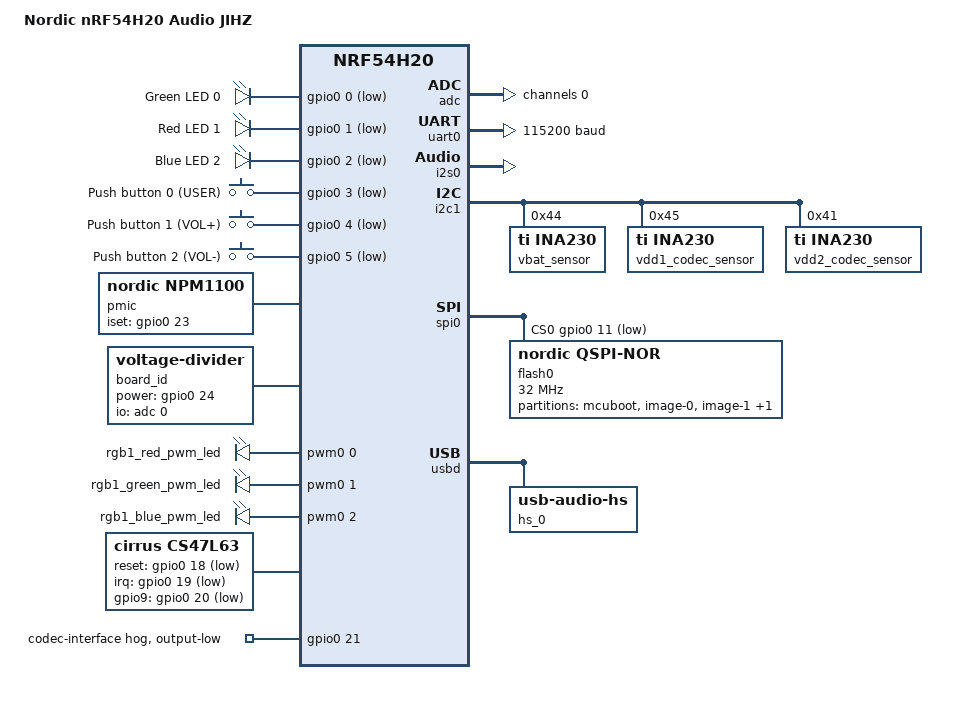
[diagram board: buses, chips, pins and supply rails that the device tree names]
/*
 * Copyright (c) 2024 Nordic Semiconductor ASA
 * SPDX-License-Identifier: Apache-2.0
 */

/dts-v1/;
#include <nordic/nrf54h20_cpuapp.dtsi>
#include "nrf54h20_audio_jihz-pinctrl.dtsi"
#include <zephyr/dt-bindings/sensor/ina230.h>

/ {
    model = "Nordic nRF54H20 Audio JIHZ";
    compatible = "nordic,nrf54h20-audio-jihz";

    chosen {
        zephyr,console = &uart0;
        zephyr,shell-uart = &uart0;
        zephyr,uart-mcumgr = &uart0;
        zephyr,bt-mon-uart = &uart0;
        zephyr,bt-c2h-uart = &uart0;
        zephyr,bt-hci = &bt_hci_ipc0;
        zephyr,sram = &sram0;
        zephyr,flash = &flash0;
        zephyr,code-partition = &slot0_partition;
        zephyr,i2s-dai = &i2s0;
        watchdog0 = &wdt0;
    };

    /* System LED definitions */
    leds {
        compatible = "gpio-leds";
        led0: led_0 {
            gpios = <&gpio0 0 GPIO_ACTIVE_LOW>;
            label = "Green LED 0";
        };
        led1: led_1 {
            gpios = <&gpio0 1 GPIO_ACTIVE_LOW>;
            label = "Red LED 1";
        };
        led2: led_2 {
            gpios = <&gpio0 2 GPIO_ACTIVE_LOW>;
            label = "Blue LED 2";
        };
    };

    /* Push buttons */
    buttons {
        compatible = "gpio-keys";
        button0: button_0 {
            gpios = <&gpio0 3 (GPIO_PULL_UP | GPIO_ACTIVE_LOW)>;
            label = "Push button 0 (USER)";
        };
        button1: button_1 {
            gpios = <&gpio0 4 (GPIO_PULL_UP | GPIO_ACTIVE_LOW)>;
            label = "Push button 1 (VOL+)";
        };
        button2: button_2 {
            gpios = <&gpio0 5 (GPIO_PULL_UP | GPIO_ACTIVE_LOW)>;
            label = "Push button 2 (VOL-)";
        };
    };

    pmic {
        compatible = "nordic,npm1100";
        nordic,iset-gpios = <&gpio0 23 GPIO_ACTIVE_HIGH>;
    };

    board_id: board_id {
        compatible = "voltage-divider";
        io-channels = <&adc 0>;
        output-ohms = <20000>;
        full-ohms = <47000>;
        power-gpios = <&gpio0 24 GPIO_ACTIVE_HIGH>;
    };

    pwmleds {
        compatible = "pwm-leds";
        rgb1_red_pwm_led: pwm_led_0 {
            pwms = <&pwm0 0 PWM_MSEC(20) PWM_POLARITY_NORMAL>;
        };
        rgb1_green_pwm_led: pwm_led_1 {
            pwms = <&pwm0 1 PWM_MSEC(20) PWM_POLARITY_NORMAL>;
        };
        rgb1_blue_pwm_led: pwm_led_2 {
            pwms = <&pwm0 2 PWM_MSEC(20) PWM_POLARITY_NORMAL>;
        };
    };

    aliases {
        pwm-led0 = &rgb1_red_pwm_led;
        pwm-led1 = &rgb1_green_pwm_led;
        pwm-led2 = &rgb1_blue_pwm_led;
        red-pwm-led = &rgb1_red_pwm_led;
        green-pwm-led = &rgb1_green_pwm_led;
        blue-pwm-led = &rgb1_blue_pwm_led;
    };

    /* Audio codec configuration */
    cs47l63: cs47l63 {
        compatible = "cirrus,cs47l63";
        reset-gpios = <&gpio0 18 GPIO_ACTIVE_LOW>;
        irq-gpios = <&gpio0 19 GPIO_ACTIVE_LOW>;
        gpio9-gpios = <&gpio0 20 GPIO_ACTIVE_LOW>;
    };

    /* Audio routing configuration */
    sound {
        compatible = "simple-audio-card";
        simple-audio-card,name = "nRF54H20 Audio Card";
        simple-audio-card,format = "i2s";
        simple-audio-card,widgets =
            "Microphone", "Digital Mic",
            "Headphone", "HP Jack";
        simple-audio-card,routing =
            "HP Jack", "HP_L",
            "HP Jack", "HP_R",
            "ADC", "Digital Mic";
        
        simple-audio-card,cpu {
            sound-dai = <&i2s0>;
        };
        
        simple-audio-card,codec {
            sound-dai = <&audio_codec 0>;
        };
    };

    /* Power domains */
    power-domains {
        compatible = "power-domain-map";
        audio_pd: audio {
            reg = <0>;
            label = "AUDIO";
        };
    };
};

/* Enable UART0 for debug console */
&adc {
    status = "okay";
    #address-cells = <1>;
    #size-cells = <0>;

    channel@0 {
        reg = <0>;
        zephyr,gain = "ADC_GAIN_1_4";
        zephyr,reference = "ADC_REF_VDD_1_4";
        zephyr,acquisition-time = <ADC_ACQ_TIME(ADC_ACQ_TIME_MICROSECONDS, 40)>;
        zephyr,input-positive = <NRF_SAADC_AIN6>;
        zephyr,resolution = <12>;
        zephyr,oversampling = <8>;
    };
};

&gpiote {
    status = "okay";
};

&gpio0 {
    status = "okay";

    codec-interface {
        gpio-hog;
        gpios = <21 GPIO_ACTIVE_HIGH>;
        output-low;
    };
};

&gpio1 {
    status = "okay";
};

&uart0 {
    status = "okay";
    current-speed = <115200>;
    pinctrl-0 = <&uart0_default>;
    pinctrl-1 = <&uart0_sleep>;
    pinctrl-names = "default", "sleep";
};

/* I2S configuration for audio */
&i2s0 {
    compatible = "nordic,nrf-i2s";
    status = "okay";
    pinctrl-0 = <&i2s0_default>;
    pinctrl-1 = <&i2s0_sleep>;
    pinctrl-names = "default", "sleep";
};

/* I2C configuration for audio codec control */
arduino_i2c: &i2c1 {
    compatible = "nordic,nrf-twim";
    status = "okay";
    pinctrl-0 = <&i2c1_default>;
    pinctrl-1 = <&i2c1_sleep>;
    pinctrl-names = "default", "sleep";

    vbat_sensor: ina231@44 {
        compatible = "ti,ina230";
        reg = <0x44>;
        adc-mode = "Bus and shunt voltage continuous";
        vbus-conversion-time-us = <4156>;
        vshunt-conversion-time-us = <4156>;
        avg-count = <1024>;
        current-lsb-microamps = <1>;
        rshunt-micro-ohms = <510000>;
    };

    vdd1_codec_sensor: ina231@45 {
        compatible = "ti,ina230";
        reg = <0x45>;
        adc-mode = "Bus and shunt voltage continuous";
        vbus-conversion-time-us = <4156>;
        vshunt-conversion-time-us = <4156>;
        avg-count = <1024>;
        current-lsb-microamps = <1>;
        rshunt-micro-ohms = <2200000>;
    };

    vdd2_codec_sensor: ina231@41 {
        compatible = "ti,ina230";
        reg = <0x41>;
        adc-mode = "Bus and shunt voltage continuous";
        vbus-conversion-time-us = <4156>;
        vshunt-conversion-time-us = <4156>;
        avg-count = <1024>;
        current-lsb-microamps = <1>;
        rshunt-micro-ohms = <2200000>;
    };
};

/* SPI configuration for external flash */
&spi0 {
    status = "okay";
    pinctrl-0 = <&spi0_default>;
    pinctrl-1 = <&spi0_sleep>;
    pinctrl-names = "default", "sleep";
    cs-gpios = <&gpio0 11 GPIO_ACTIVE_LOW>;

    flash0: flash@0 {
        compatible = "nordic,qspi-nor";
        reg = <0>;
        status = "okay";
        spi-max-frequency = <32000000>;
        power-domain = <&audio_pd>;
        
        partitions {
            compatible = "fixed-partitions";
            #address-cells = <1>;
            #size-cells = <1>;

            boot_partition: partition@0 {
                label = "mcuboot";
                reg = <0x0 0x10000>;
            };
            slot0_partition: partition@10000 {
                label = "image-0";
                reg = <0x10000 0x40000>;
            };
            slot1_partition: partition@50000 {
                label = "image-1";
                reg = <0x50000 0x40000>;
            };
            storage_partition: partition@90000 {
                label = "storage";
                reg = <0x90000 0x6000>;
            };
        };
    };
};

zephyr_udc0: &usbd {
    compatible = "nordic,nrf-usbd";
    status = "okay";

    hs_0: hs_0 {
        compatible = "usb-audio-hs";
        mic-feature-mute;
        mic-channel-l;
        mic-channel-r;

        hp-feature-mute;
        hp-channel-l;
        hp-channel-r;
    };
};

/* Include partition configuration */
#include <nordic/nrf54h20_partition.dtsi>
